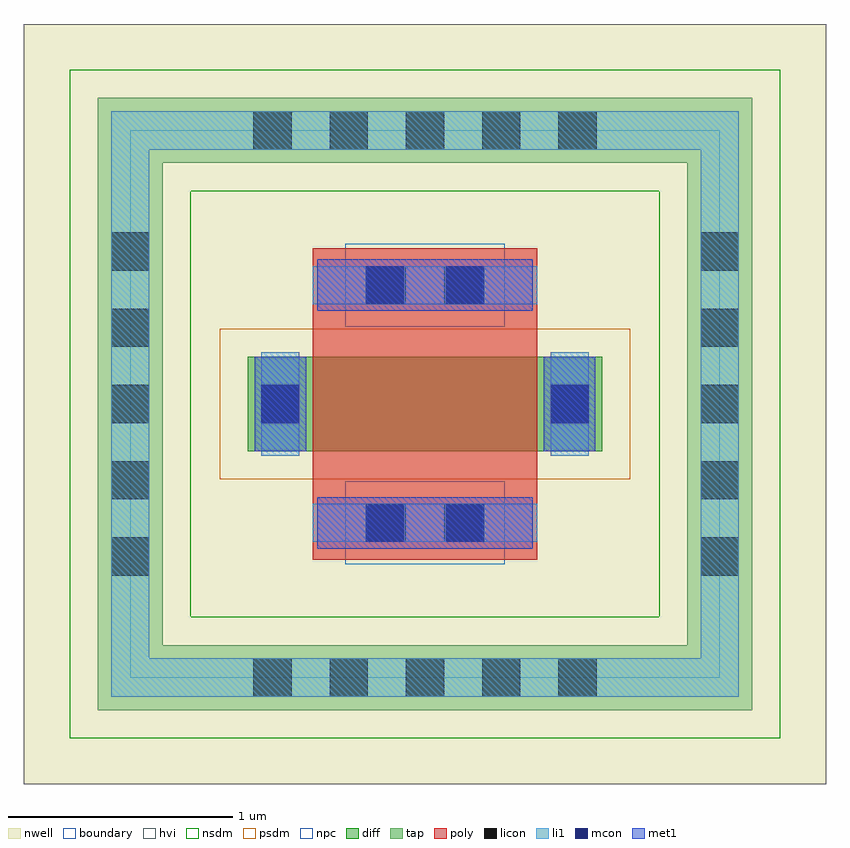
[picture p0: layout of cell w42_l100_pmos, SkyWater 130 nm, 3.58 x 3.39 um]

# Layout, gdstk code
import gdstk
lib = gdstk.Library(unit=1e-6, precision=1e-09)
def R(c, l, rs):  # rectangles x0, y0, x1, y1
    for r in rs: c.add(gdstk.rectangle(r[:2], r[2:], *l))
def A(c, l, x, y, w, h, nx, ny, dx, dy):  # array of equal rectangles
    R(c, l, [(x+i*dx, y+j*dy, x+i*dx+w, y+j*dy+h) for i in range(nx) for j in range(ny)])
nwell = (64, 20)
diff = (65, 20)
tap = (65, 44)
poly = (66, 20)
licon = (66, 44)
li1 = (67, 20)
mcon = (67, 44)
met1 = (68, 20)
hvi = (75, 20)
nsdm = (93, 44)
psdm = (94, 20)
npc = (95, 20)
boundary = (235, 4)

sky130_fd_pr__pfet_g5v0d = lib.new_cell('sky130_fd_pr__pfet_g5v0d10v5')

w42_l100_pmos = lib.new_cell('w42_l100_pmos')
R(w42_l100_pmos, nwell, [(-1.79,-1.695,1.79,1.695)])
R(w42_l100_pmos, diff, [(-0.79,-0.21,0.79,0.21)])
R(w42_l100_pmos, tap, [(-1.46,-1.365,1.46,-1.075), (-1.46,-1.075,-1.17,1.075), (1.17,-1.075,1.46,1.075), (-1.46,1.075,1.46,1.365)])
R(w42_l100_pmos, poly, [(-0.5,-0.695,0.5,0.695)])
A(w42_l100_pmos, licon, -0.765, -1.305, 0.17, 0.17, 5, 2, 0.34, 2.44)
A(w42_l100_pmos, licon, -1.4, -0.765, 0.17, 0.17, 1, 5, 0, 0.34)
A(w42_l100_pmos, licon, 1.23, -0.765, 0.17, 0.17, 1, 5, 0, 0.34)
R(w42_l100_pmos, licon, [(-0.255,-0.615,-0.085,-0.445), (0.085,-0.615,0.255,-0.445), (-0.73,-0.085,-0.56,0.085), (0.56,-0.085,0.73,0.085), (-0.255,0.445,-0.085,0.615), (0.085,0.445,0.255,0.615)])
R(w42_l100_pmos, li1, [(-1.4,-1.305,1.4,-1.135), (-1.4,-1.135,-1.23,1.135), (1.23,-1.135,1.4,1.135), (-0.5,-0.615,0.5,-0.445), (-0.73,-0.23,-0.56,0.23), (0.56,-0.23,0.73,0.23), (-0.5,0.445,0.5,0.615), (-1.4,1.135,1.4,1.305)])
R(w42_l100_pmos, mcon, [(-0.265,-0.615,-0.095,-0.445), (0.095,-0.615,0.265,-0.445), (-0.73,-0.085,-0.56,0.085), (0.56,-0.085,0.73,0.085), (-0.265,0.445,-0.095,0.615), (0.095,0.445,0.265,0.615)])
R(w42_l100_pmos, met1, [(-0.48,-0.645,0.48,-0.415), (-0.76,-0.21,-0.53,0.21), (0.53,-0.21,0.76,0.21), (-0.48,0.415,0.48,0.645)])
R(w42_l100_pmos, hvi, [(-1.79,-1.695,1.79,1.695)])
R(w42_l100_pmos, nsdm, [(-1.585,-1.49,1.585,-0.95), (-1.585,-0.95,-1.045,0.95), (1.045,-0.95,1.585,0.95), (-1.585,0.95,1.585,1.49)])
R(w42_l100_pmos, psdm, [(-0.915,-0.335,0.915,0.335)])
R(w42_l100_pmos, npc, [(-0.355,-0.715,0.355,-0.345), (-0.355,0.345,0.355,0.715)])
R(w42_l100_pmos, boundary, [(-1.315,-1.22,1.315,1.22)])
w42_l100_pmos.add(gdstk.Reference(sky130_fd_pr__pfet_g5v0d, (0,0)))

lib.write_gds('w42_l100_pmos.gds')
